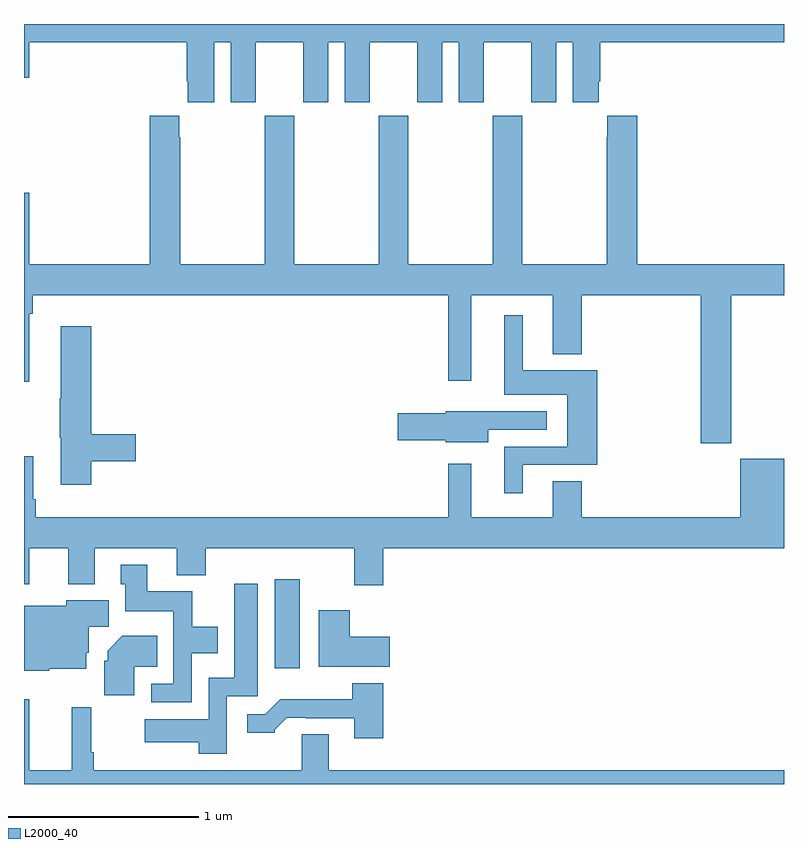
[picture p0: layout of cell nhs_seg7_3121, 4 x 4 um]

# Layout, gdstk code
import gdstk
lib = gdstk.Library(unit=1e-6, precision=1e-09)
def R(c, l, rs):  # rectangles x0, y0, x1, y1
    for r in rs: c.add(gdstk.rectangle(r[:2], r[2:], *l))
def P(c, l, *ps):  # polygons
    for p in ps: c.add(gdstk.Polygon(p, *l))
L2000_40 = (2000, 40)

nhs_seg7_3121 = lib.new_cell('nhs_seg7_3121')
R(nhs_seg7_3121, L2000_40, [(310.319,1042.608,310.45,1043.077)])
P(nhs_seg7_3121, L2000_40, [(310,1045.904),(310.088,1045.904),(310.088,1045.587),(310.219,1045.587),(310.219,1045.904),(310.469,1045.904),(310.469,1045.587),(310.6,1045.587),(310.6,1045.904),(310.688,1045.904),(310.688,1045.587),(310.819,1045.587),(310.819,1045.904),(311.069,1045.904),(311.069,1045.587),(311.2,1045.587),(311.2,1045.904),(311.288,1045.904),(311.288,1045.587),(311.419,1045.587),(311.419,1045.904),(311.669,1045.904),(311.669,1045.587),(311.8,1045.587),(311.8,1045.904),(311.888,1045.904),(311.888,1045.587),(312.025,1045.587),(312.025,1045.699),(312.032,1045.699),(312.032,1045.904),(313,1045.904),(313,1046),(309,1046),(309,1045.716),(309.028,1045.716),(309.028,1045.904),(309.857,1045.904),(309.857,1045.699),(309.863,1045.699),(309.863,1045.587),(310,1045.587)],
  [(311.022,1045.516),(310.867,1045.516),(310.867,1044.736),(310.422,1044.736),(310.422,1045.516),(310.267,1045.516),(310.267,1044.736),(309.822,1044.736),(309.822,1045.403),(309.817,1045.403),(309.817,1045.516),(309.662,1045.516),(309.662,1044.736),(309.028,1044.736),(309.028,1045.111),(309,1045.111),(309,1044.117),(309.028,1044.117),(309.028,1044.476),(309.047,1044.476),(309.047,1044.572),(311.232,1044.572),(311.232,1044.123),(311.353,1044.123),(311.353,1044.572),(311.783,1044.572),(311.783,1044.263),(311.936,1044.263),(311.936,1044.572),(312.563,1044.572),(312.563,1043.793),(312.723,1043.793),(312.723,1044.572),(313,1044.572),(313,1044.736),(312.227,1044.736),(312.227,1045.516),(312.071,1045.516),(312.071,1045.403),(312.067,1045.403),(312.067,1044.736),(311.622,1044.736),(311.622,1045.516),(311.467,1045.516),(311.467,1044.736),(311.022,1044.736)],
  [(311.626,1043.679),(312.017,1043.679),(312.017,1044.178),(311.626,1044.178),(311.626,1044.466),(311.528,1044.466),(311.528,1044.05),(311.858,1044.05),(311.858,1043.775),(311.528,1043.775),(311.528,1043.529),(311.626,1043.529)],
  [(309.353,1043.698),(309.589,1043.698),(309.589,1043.84),(309.353,1043.84),(309.353,1044.409),(309.194,1044.409),(309.194,1044.029),(309.187,1044.029),(309.187,1043.823),(309.194,1043.823),(309.194,1043.574),(309.353,1043.574)],
  [(311.443,1043.865),(311.752,1043.865),(311.752,1043.961),(311.439,1043.961),(311.439,1043.962),(311.22,1043.962),(311.22,1043.951),(310.968,1043.951),(310.968,1043.809),(311.22,1043.809),(311.22,1043.798),(311.443,1043.798)],
  [(309,1043.725),(309,1043.052),(309.028,1043.052),(309.028,1043.24),(309.233,1043.24),(309.233,1043.051),(309.373,1043.051),(309.373,1043.24),(309.803,1043.24),(309.803,1043.099),(309.956,1043.099),(309.956,1043.24),(310.739,1043.24),(310.739,1043.046),(310.892,1043.046),(310.892,1043.24),(313,1043.24),(313,1043.713),(312.77,1043.713),(312.77,1043.404),(311.936,1043.404),(311.936,1043.594),(311.783,1043.594),(311.783,1043.404),(311.353,1043.404),(311.353,1043.686),(311.232,1043.686),(311.232,1043.404),(309.062,1043.404),(309.062,1043.5),(309.049,1043.5),(309.049,1043.725)],
  [(309.882,1042.688),(310.021,1042.688),(310.021,1042.828),(309.885,1042.828),(309.885,1043.014),(309.649,1043.014),(309.649,1043.155),(309.509,1043.155),(309.509,1043.052),(309.533,1043.052),(309.533,1042.91),(309.786,1042.91),(309.786,1042.527),(309.669,1042.527),(309.669,1042.431),(309.882,1042.431)],
  [(310.068,1042.461),(310.231,1042.461),(310.231,1043.053),(310.106,1043.053),(310.106,1042.558),(309.972,1042.558),(309.972,1042.342),(309.636,1042.342),(309.636,1042.22),(309.92,1042.22),(309.92,1042.158),(310.068,1042.158)],
  [(309.132,1042.607),(309.328,1042.607),(309.328,1042.692),(309.34,1042.692),(309.34,1042.828),(309.445,1042.828),(309.445,1042.966),(309.222,1042.966),(309.222,1042.939),(309,1042.939),(309,1042.595),(309.132,1042.595)],
  [(310.924,1042.774),(310.714,1042.774),(310.714,1042.915),(310.55,1042.915),(310.55,1042.616),(310.924,1042.616)],
  [(309.58,1042.616),(309.701,1042.616),(309.701,1042.78),(309.518,1042.78),(309.44,1042.702),(309.44,1042.65),(309.422,1042.65),(309.422,1042.466),(309.58,1042.466)],
  [(310.892,1042.531),(310.727,1042.531),(310.727,1042.447),(310.348,1042.447),(310.269,1042.368),(310.176,1042.368),(310.176,1042.271),(310.32,1042.271),(310.32,1042.286),(310.384,1042.35),(310.483,1042.35),(310.483,1042.347),(310.739,1042.347),(310.739,1042.242),(310.892,1042.242)],
  [(313,1042.072),(310.603,1042.072),(310.603,1042.262),(310.463,1042.262),(310.463,1042.072),(309.368,1042.072),(309.368,1042.168),(309.353,1042.168),(309.353,1042.405),(309.25,1042.405),(309.25,1042.072),(309.028,1042.072),(309.028,1042.447),(309,1042.447),(309,1042),(313,1042)])

lib.write_gds('nhs_seg7_3121.gds')
